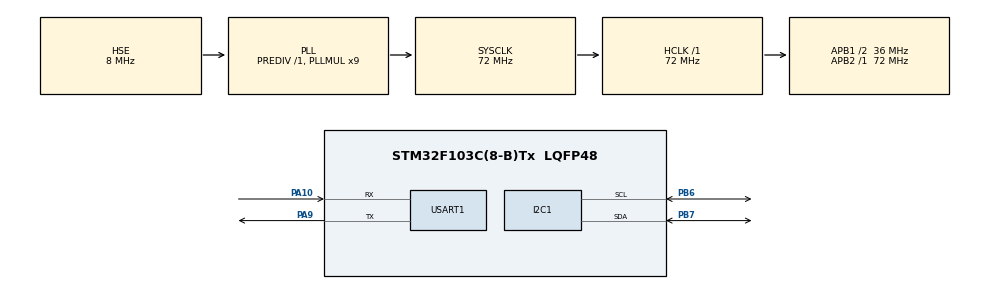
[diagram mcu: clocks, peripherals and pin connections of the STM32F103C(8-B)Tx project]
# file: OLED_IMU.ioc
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Mcu.Family=STM32F1
Mcu.Name=STM32F103C(8-B)Tx
Mcu.Package=LQFP48
NVIC.PriorityGroup=NVIC_PRIORITYGROUP_4
PA10.Mode=Asynchronous
PA10.Signal=USART1_RX
PA13.Mode=Serial_Wire
PA13.Signal=SYS_JTMS-SWDIO
PA14.Mode=Serial_Wire
PA14.Signal=SYS_JTCK-SWCLK
PA9.Mode=Asynchronous
PA9.Signal=USART1_TX
PB6.Mode=I2C
PB6.Signal=I2C1_SCL
PB7.Mode=I2C
PB7.Signal=I2C1_SDA
PD0-OSC_IN.Mode=HSE-External-Oscillator
PD0-OSC_IN.Signal=RCC_OSC_IN
PD1-OSC_OUT.Mode=HSE-External-Oscillator
PD1-OSC_OUT.Signal=RCC_OSC_OUT
ProjectManager.HeapSize=0x200
ProjectManager.StackSize=0x400
ProjectManager.TargetToolchain=STM32CubeIDE
RCC.AHBFreq_Value=72000000
RCC.APB1CLKDivider=RCC_HCLK_DIV2
RCC.APB1Freq_Value=36000000
RCC.APB1TimFreq_Value=72000000
RCC.APB2Freq_Value=72000000
RCC.APB2TimFreq_Value=72000000
RCC.HCLKFreq_Value=72000000
RCC.PLLMUL=RCC_PLL_MUL9
RCC.PLLSourceVirtual=RCC_PLLSOURCE_HSE
RCC.SYSCLKFreq_VALUE=72000000
RCC.SYSCLKSource=RCC_SYSCLKSOURCE_PLLCLK
RCC.USBFreq_Value=72000000
USART1.VirtualMode=VM_ASYNC
board=custom

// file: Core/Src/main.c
/* USER CODE BEGIN Header */
/**
  ******************************************************************************
  * @file           : main.c
  * @brief          : Main program body
  ******************************************************************************
  * @attention
  *
  * <h2><center>&copy; Copyright (c) 2021 STMicroelectronics.
  * All rights reserved.</center></h2>
  *
  * This software component is licensed by ST under BSD 3-Clause license,
  * the "License"; You may not use this file except in compliance with the
  * License. You may obtain a copy of the License at:
  *                        opensource.org/licenses/BSD-3-Clause
  *
  ******************************************************************************
  */
/* USER CODE END Header */
#include <bubble.h>
#include "main.h"

/* USER CODE BEGIN Includes */
#include <stdio.h>
#include <string.h>
#include "graphics.h"
#include "mpu6050.h"
#include "utils.h"
/* USER CODE END Includes */

/* USER CODE BEGIN PTD */
#define BUBBLE_RADIUS 	10

// These accel values are correct for FULL_SCALE_2k
#define ACCEL_MIN 		-16384
#define ACCEL_MAX 		 16384
#define MOVE_MIN		-20
#define MOVE_MAX		 20

/* USER CODE END PTD */

I2C_HandleTypeDef hi2c1;
UART_HandleTypeDef huart1;

void SystemClock_Config(void);
static void MX_GPIO_Init(void);
static void MX_I2C1_Init(void);
static void MX_USART1_UART_Init(void);

int main(void)
{

  /* MCU Configuration--------------------------------------------------------*/

  /* Reset of all peripherals, Initializes the Flash interface and the Systick. */
  HAL_Init();

  /* Configure the system clock */
  SystemClock_Config();

  /* Initialize all configured peripherals */
  MX_GPIO_Init();
  MX_I2C1_Init();
  MX_USART1_UART_Init();
  /* USER CODE BEGIN 2 */

  GraphicsInit();
  GraphicsClear(false);
  GraphicsUpdateDisplay();

  int8_t Vx;
  int8_t Vy;

  IMUDataStruct myIMU;
  mpu6050Setup(&myIMU);

  // create the bubble
  Bubble bubble;
  Bubble_ctor(&bubble, OLED_CENTER_X, OLED_CENTER_Y, BUBBLE_RADIUS);

  /* USER CODE END 2 */

  /* Infinite loop */
  /* USER CODE BEGIN WHILE */
  while (1)
  {
	  // Get the IMU data
	  MPU6050Read(&myIMU);

	  // Map it to a move distance
	  Vx = (int8_t)map_i16(myIMU.Ax, ACCEL_MIN, ACCEL_MAX, MOVE_MIN, MOVE_MAX);
	  Vy = (int8_t)map_i16(myIMU.Ay, ACCEL_MIN, ACCEL_MAX, MOVE_MIN, MOVE_MAX);

	  // Update the position of the bubble
	  Bubble_moveby(&bubble, -Vy, -Vx);

	  HAL_Delay(10);

    /* USER CODE END WHILE */

  }
}

void SystemClock_Config(void)
{
  RCC_OscInitTypeDef RCC_OscInitStruct = {0};
  RCC_ClkInitTypeDef RCC_ClkInitStruct = {0};

  /** Initializes the RCC Oscillators according to the specified parameters
  * in the RCC_OscInitTypeDef structure.
  */
  RCC_OscInitStruct.OscillatorType = RCC_OSCILLATORTYPE_HSE;
  RCC_OscInitStruct.HSEState = RCC_HSE_ON;
  RCC_OscInitStruct.HSEPredivValue = RCC_HSE_PREDIV_DIV1;
  RCC_OscInitStruct.HSIState = RCC_HSI_ON;
  RCC_OscInitStruct.PLL.PLLState = RCC_PLL_ON;
  RCC_OscInitStruct.PLL.PLLSource = RCC_PLLSOURCE_HSE;
  RCC_OscInitStruct.PLL.PLLMUL = RCC_PLL_MUL9;
  if (HAL_RCC_OscConfig(&RCC_OscInitStruct) != HAL_OK)
  {
    Error_Handler();
  }
  /** Initializes the CPU, AHB and APB buses clocks
  */
  RCC_ClkInitStruct.ClockType = RCC_CLOCKTYPE_HCLK|RCC_CLOCKTYPE_SYSCLK
                              |RCC_CLOCKTYPE_PCLK1|RCC_CLOCKTYPE_PCLK2;
  RCC_ClkInitStruct.SYSCLKSource = RCC_SYSCLKSOURCE_PLLCLK;
  RCC_ClkInitStruct.AHBCLKDivider = RCC_SYSCLK_DIV1;
  RCC_ClkInitStruct.APB1CLKDivider = RCC_HCLK_DIV2;
  RCC_ClkInitStruct.APB2CLKDivider = RCC_HCLK_DIV1;

  if (HAL_RCC_ClockConfig(&RCC_ClkInitStruct, FLASH_LATENCY_2) != HAL_OK)
  {
    Error_Handler();
  }
}

static void MX_I2C1_Init(void)
{

  hi2c1.Instance = I2C1;
  hi2c1.Init.ClockSpeed = 100000;
  hi2c1.Init.DutyCycle = I2C_DUTYCYCLE_2;
  hi2c1.Init.OwnAddress1 = 0;
  hi2c1.Init.AddressingMode = I2C_ADDRESSINGMODE_7BIT;
  hi2c1.Init.DualAddressMode = I2C_DUALADDRESS_DISABLE;
  hi2c1.Init.OwnAddress2 = 0;
  hi2c1.Init.GeneralCallMode = I2C_GENERALCALL_DISABLE;
  hi2c1.Init.NoStretchMode = I2C_NOSTRETCH_DISABLE;
  if (HAL_I2C_Init(&hi2c1) != HAL_OK)
  {
    Error_Handler();
  }

}

static void MX_USART1_UART_Init(void)
{

  huart1.Instance = USART1;
  huart1.Init.BaudRate = 115200;
  huart1.Init.WordLength = UART_WORDLENGTH_8B;
  huart1.Init.StopBits = UART_STOPBITS_1;
  huart1.Init.Parity = UART_PARITY_NONE;
  huart1.Init.Mode = UART_MODE_TX_RX;
  huart1.Init.HwFlowCtl = UART_HWCONTROL_NONE;
  huart1.Init.OverSampling = UART_OVERSAMPLING_16;
  if (HAL_UART_Init(&huart1) != HAL_OK)
  {
    Error_Handler();
  }

}

static void MX_GPIO_Init(void)
{

  /* GPIO Ports Clock Enable */
  __HAL_RCC_GPIOD_CLK_ENABLE();
  __HAL_RCC_GPIOA_CLK_ENABLE();
  __HAL_RCC_GPIOB_CLK_ENABLE();

}

/* USER CODE BEGIN 4 */

/**
 * @brief  Systick callback implementation for systick interrupt
 * @param  None
 * @retval None
 */

/* USER CODE END 4 */

void Error_Handler(void)
{
  __disable_irq();
  while (1)
  {
  }
}

/************************ (C) COPYRIGHT STMicroelectronics *****END OF FILE****/
